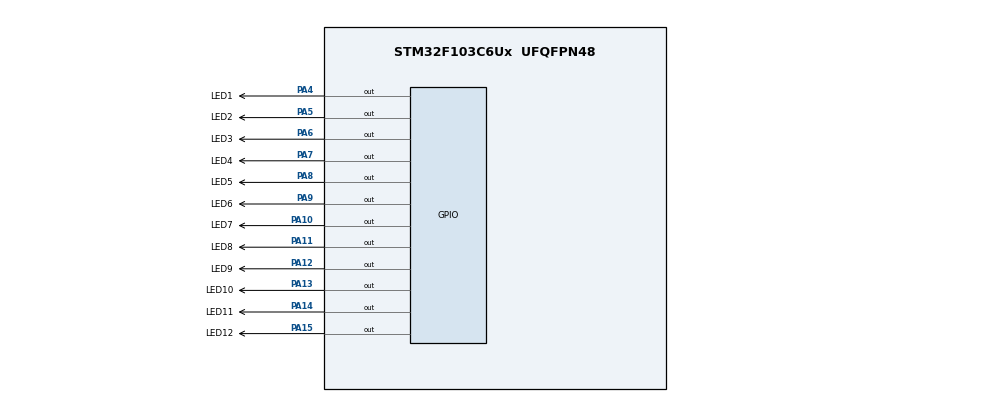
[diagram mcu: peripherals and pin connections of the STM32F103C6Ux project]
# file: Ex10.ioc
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Mcu.Family=STM32F1
Mcu.Name=STM32F103C6Ux
Mcu.Package=UFQFPN48
NVIC.PriorityGroup=NVIC_PRIORITYGROUP_4
PA10.GPIO_Label=LED7
PA10.Signal=GPIO_Output
PA11.GPIO_Label=LED8
PA11.Signal=GPIO_Output
PA12.GPIO_Label=LED9
PA12.Signal=GPIO_Output
PA13.GPIO_Label=LED10
PA13.Signal=GPIO_Output
PA14.GPIO_Label=LED11
PA14.Signal=GPIO_Output
PA15.GPIO_Label=LED12
PA15.Signal=GPIO_Output
PA4.GPIO_Label=LED1
PA4.Signal=GPIO_Output
PA5.GPIO_Label=LED2
PA5.Signal=GPIO_Output
PA6.GPIO_Label=LED3
PA6.Signal=GPIO_Output
PA7.GPIO_Label=LED4
PA7.Signal=GPIO_Output
PA8.GPIO_Label=LED5
PA8.Signal=GPIO_Output
PA9.GPIO_Label=LED6
PA9.Signal=GPIO_Output
ProjectManager.HeapSize=0x200
ProjectManager.StackSize=0x400
ProjectManager.TargetToolchain=STM32CubeIDE
RCC.APB1Freq_Value=8000000
RCC.APB2Freq_Value=8000000
VP_SYS_VS_ND.Mode=No_Debug
board=custom

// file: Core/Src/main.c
/* USER CODE BEGIN Header */
/**
  ******************************************************************************
  * @file           : main.c
  * @brief          : Main program body
  ******************************************************************************
  * @attention
  *
  * <h2><center>&copy; Copyright (c) 2026 STMicroelectronics.
  * All rights reserved.</center></h2>
  *
  * This software component is licensed by ST under BSD 3-Clause license,
  * the "License"; You may not use this file except in compliance with the
  * License. You may obtain a copy of the License at:
  *                        opensource.org/licenses/BSD-3-Clause
  *
  ******************************************************************************
  */
/* USER CODE END Header */
#include "main.h"

/* USER CODE BEGIN PV */
uint16_t LED_Pins[12] = {
  LED1_Pin, LED2_Pin, LED3_Pin, LED4_Pin,
  LED5_Pin, LED6_Pin, LED7_Pin, LED8_Pin,
  LED9_Pin, LED10_Pin, LED11_Pin, LED12_Pin
};
/* USER CODE END PV */

void SystemClock_Config(void);
static void MX_GPIO_Init(void);
/* USER CODE BEGIN PFP */
void clearAllClock(void);
void setNumberOnClock(int num);
void clearNumberOnClock(int num);
/* USER CODE END PFP */

int main(void)
{

  /* MCU Configuration--------------------------------------------------------*/

  /* Reset of all peripherals, Initializes the Flash interface and the Systick. */
  HAL_Init();

  /* Configure the system clock */
  SystemClock_Config();

  /* Initialize all configured peripherals */
  MX_GPIO_Init();
  /* USER CODE BEGIN 2 */
  clearAllClock();  // tắt hết LED khi khởi động

  int hour = 0;
  int min  = 0;
  int sec  = 0;
  /* USER CODE END 2 */

  /* Infinite loop */
  while (1)
  {

    /* USER CODE BEGIN 3 */
    // Bật 3 LED tương ứng giờ, phút, giây hiện tại
    setNumberOnClock(hour);
    setNumberOnClock(min);
    setNumberOnClock(sec);
    HAL_Delay(400);

    // Tắt trước khi cập nhật giá trị mới, tránh sáng dư
    clearNumberOnClock(hour);
    clearNumberOnClock(min);
    clearNumberOnClock(sec);

    // Cập nhật giờ/phút/giây (mô phỏng rút gọn theo 12 vị trí)
    sec++;
    if (sec == 12) { min++; sec = 0; }
    if (min == 12) { hour++; min = 0; }
    if (hour == 12) { hour = 0; }
  }
  /* USER CODE END 3 */
}

void SystemClock_Config(void)
{
  RCC_OscInitTypeDef RCC_OscInitStruct = {0};
  RCC_ClkInitTypeDef RCC_ClkInitStruct = {0};

  /** Initializes the RCC Oscillators according to the specified parameters
  * in the RCC_OscInitTypeDef structure.
  */
  RCC_OscInitStruct.OscillatorType = RCC_OSCILLATORTYPE_HSI;
  RCC_OscInitStruct.HSIState = RCC_HSI_ON;
  RCC_OscInitStruct.HSICalibrationValue = RCC_HSICALIBRATION_DEFAULT;
  RCC_OscInitStruct.PLL.PLLState = RCC_PLL_NONE;
  if (HAL_RCC_OscConfig(&RCC_OscInitStruct) != HAL_OK)
  {
    Error_Handler();
  }
  /** Initializes the CPU, AHB and APB buses clocks
  */
  RCC_ClkInitStruct.ClockType = RCC_CLOCKTYPE_HCLK|RCC_CLOCKTYPE_SYSCLK
                              |RCC_CLOCKTYPE_PCLK1|RCC_CLOCKTYPE_PCLK2;
  RCC_ClkInitStruct.SYSCLKSource = RCC_SYSCLKSOURCE_HSI;
  RCC_ClkInitStruct.AHBCLKDivider = RCC_SYSCLK_DIV1;
  RCC_ClkInitStruct.APB1CLKDivider = RCC_HCLK_DIV1;
  RCC_ClkInitStruct.APB2CLKDivider = RCC_HCLK_DIV1;

  if (HAL_RCC_ClockConfig(&RCC_ClkInitStruct, FLASH_LATENCY_0) != HAL_OK)
  {
    Error_Handler();
  }
}

static void MX_GPIO_Init(void)
{
  GPIO_InitTypeDef GPIO_InitStruct = {0};

  /* GPIO Ports Clock Enable */
  __HAL_RCC_GPIOA_CLK_ENABLE();

  /*Configure GPIO pin Output Level */
  // SET = tắt LED (mạch active-low: cathode nối MCU, anode nối +3.3V)
  HAL_GPIO_WritePin(GPIOA, LED1_Pin|LED2_Pin|LED3_Pin|LED4_Pin
                          |LED5_Pin|LED6_Pin|LED7_Pin|LED8_Pin
                          |LED9_Pin|LED10_Pin|LED11_Pin|LED12_Pin, GPIO_PIN_SET);

  /*Configure GPIO pins : LED1_Pin LED2_Pin LED3_Pin LED4_Pin
                           LED5_Pin LED6_Pin LED7_Pin LED8_Pin
                           LED9_Pin LED10_Pin LED11_Pin LED12_Pin */
  GPIO_InitStruct.Pin = LED1_Pin|LED2_Pin|LED3_Pin|LED4_Pin
                          |LED5_Pin|LED6_Pin|LED7_Pin|LED8_Pin
                          |LED9_Pin|LED10_Pin|LED11_Pin|LED12_Pin;
  GPIO_InitStruct.Mode = GPIO_MODE_OUTPUT_PP;
  GPIO_InitStruct.Pull = GPIO_NOPULL;
  GPIO_InitStruct.Speed = GPIO_SPEED_FREQ_LOW;
  HAL_GPIO_Init(GPIOA, &GPIO_InitStruct);

}

/* USER CODE BEGIN 4 */
// Quy ước mạch: cathode LED nối MCU, anode nối +3.3V => 0 (RESET) = sáng, 1 (SET) = tắt

void clearAllClock(void)
{
  for (int i = 0; i < 12; i++)
  {
    HAL_GPIO_WritePin(GPIOA, LED_Pins[i], GPIO_PIN_SET);   // tắt
  }
}

void setNumberOnClock(int num)
{
  if (num >= 0 && num <= 11)
  {
    HAL_GPIO_WritePin(GPIOA, LED_Pins[num], GPIO_PIN_RESET); // sáng
  }
}

void clearNumberOnClock(int num)
{
  if (num >= 0 && num <= 11)
  {
    HAL_GPIO_WritePin(GPIOA, LED_Pins[num], GPIO_PIN_SET);   // tắt
  }
}
/* USER CODE END 4 */

void Error_Handler(void)
{
  __disable_irq();
  while (1)
  {
  }
}

/************************ (C) COPYRIGHT STMicroelectronics *****END OF FILE****/
